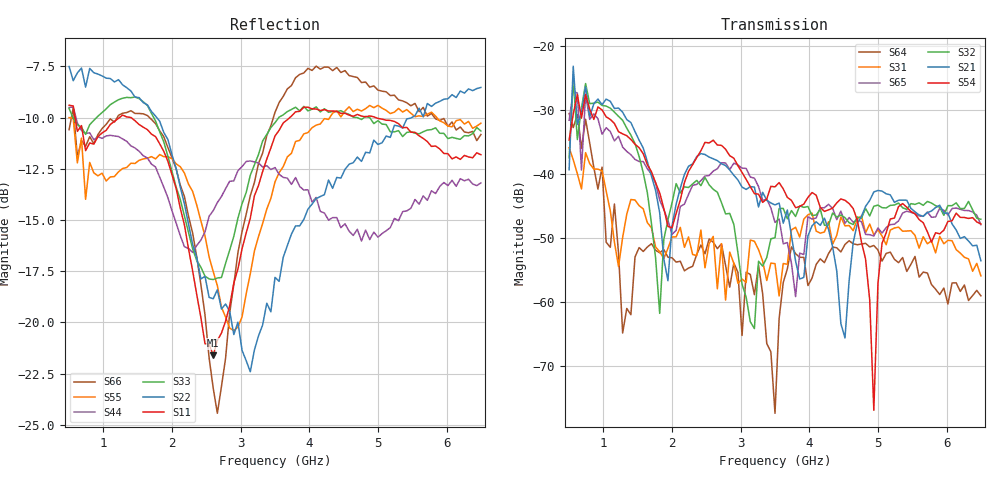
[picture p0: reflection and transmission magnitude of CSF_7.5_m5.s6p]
!Keysight Technologies,M9804A,MY58100912,A.14.10.03
!Date: Thursday, April 27, 2023 10:28:33
!Correction: S11(C  6-Port  )
!S12(C  6-Port  )
!S13(C  6-Port  )
!S14(C  6-Port  )
!S15(C  6-Port  )
!S16(C  6-Port  )
!S21(C  6-Port  )
!S22(C  6-Port  )
!S23(C  6-Port  )
!S24(C  6-Port  )
!S25(C  6-Port  )
!S26(C  6-Port  )
!S31(C  6-Port  )
!S32(C  6-Port  )
!S33(C  6-Port  )
!S34(C  6-Port  )
!S35(C  6-Port  )
!S36(C  6-Port  )
!S41(C  6-Port  )
!S42(C  6-Port  )
!S43(C  6-Port  )
!S44(C  6-Port  )
!S45(C  6-Port  )
!S46(C  6-Port  )
!S51(C  6-Port  )
!S52(C  6-Port  )
!S53(C  6-Port  )
!S54(C  6-Port  )
!S55(C  6-Port  )
!S56(C  6-Port  )
!S61(C  6-Port  )
!S62(C  6-Port  )
!S63(C  6-Port  )
!S64(C  6-Port  )
!S65(C  6-Port  )
!S66(C  6-Port  )
!S6P File: Measurement: :
# Hz S  RI  R 50
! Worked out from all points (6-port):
!   101 points, 500 MHz to 6.5 GHz, reference 50 ohm
!   strongest paths, dB at 500 MHz, 2 GHz, 3.5 GHz, 5 GHz, 6.5 GHz:
!     S54: -34.7, -48.4, -42.0, -57.1, -47.8
!     S21: -39.4, -48.1, -44.9, -42.6, -53.6
!     S32: -37.5, -44.5, -50.0, -44.9, -47.1
!     S65: -31.6, -49.4, -47.6, -48.5, -47.9
!     S31: -35.9, -49.9, -54.0, -48.7, -55.9
!     S64: -30.6, -53.1, -77.4, -51.9, -59.0
!   lowest |S11| = -21.6 dB at 2.6 GHz (marker M1), VSWR 1.18, Z = 42.6 + j2.07 ohm
!   |S11| at or under -10 dB: 587.3 MHz to 1.234 GHz (646.7 MHz wide, 71 % of centre); 1.403 GHz to 3.715 GHz (2.313 GHz wide, 90.4 % of centre); 4.968 GHz to end of sweep
